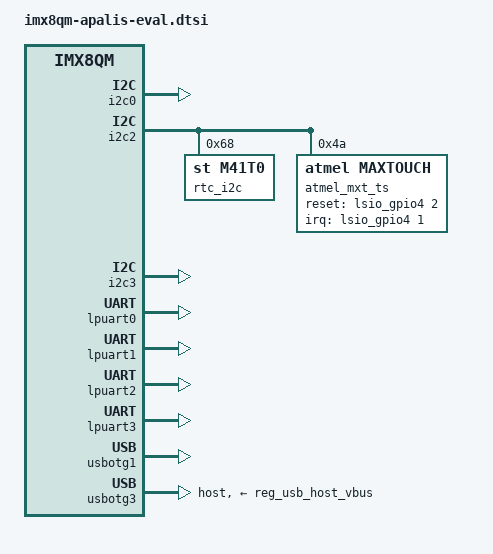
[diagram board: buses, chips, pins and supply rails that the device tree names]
// SPDX-License-Identifier: GPL-2.0+ OR X11
/*
 * Copyright 2019 Toradex
 */

/ {
	aliases {
		rtc0 = &rtc_i2c;
		rtc1 = &rtc;
	};

	reg_usb_host_vbus: regulator-usb-host-vbus {
		regulator-name = "VCC USBH2(ABCD) / USBH(3|4)";
	};
};

/* Apalis I2C2 (DDC) */
&i2c0 {
	status = "okay";
};

/* Apalis I2C1 */
&i2c2 {
	status = "okay";

	/* M41T0M6 real time clock on carrier board */
	rtc_i2c: rtc@68 {
		compatible = "st,m41t0";
		reg = <0x68>;
	};

	atmel_mxt_ts: atmel_mxt_ts@4a {
		compatible = "atmel,maxtouch";
		pinctrl-names = "default";
		pinctrl-0 = <&pinctrl_gpio5>, <&pinctrl_gpio6>;
		reg = <0x4a>;
		interrupt-parent = <&lsio_gpio4>;
		interrupts = <1 IRQ_TYPE_EDGE_FALLING>;    /* Apalis GPIO5 */
		reset-gpios = <&lsio_gpio4 2 GPIO_ACTIVE_HIGH>; /* Apalis GPIO6 */
		status = "okay";
	};
};

/* Apalis I2C3 (CAM) */
&i2c3 {
	status = "okay";
};

/* Apalis UART3 */
&lpuart0 {
	status = "okay";
};

/* Apalis UART1 */
&lpuart1 {
	status = "okay";
};

/* Apalis UART4 */
&lpuart2 {
	status = "okay";
};

/* Apalis UART2 */
&lpuart3 {
	status = "okay";
};

/* Apalis USBO1 */
&usbotg1 {
	status = "okay";
};

/* Apalis USBH4 SuperSpeed */
&usbotg3 {
	dr_mode = "host";
	vbus-supply = <&reg_usb_host_vbus>;
	status = "okay";
};
#if 0
/* Apalis MMC1 */
&usdhc2 {
	status = "okay";
};

/* Apalis SD1 */
&usdhc3 {
	status = "okay";
};
#endif
